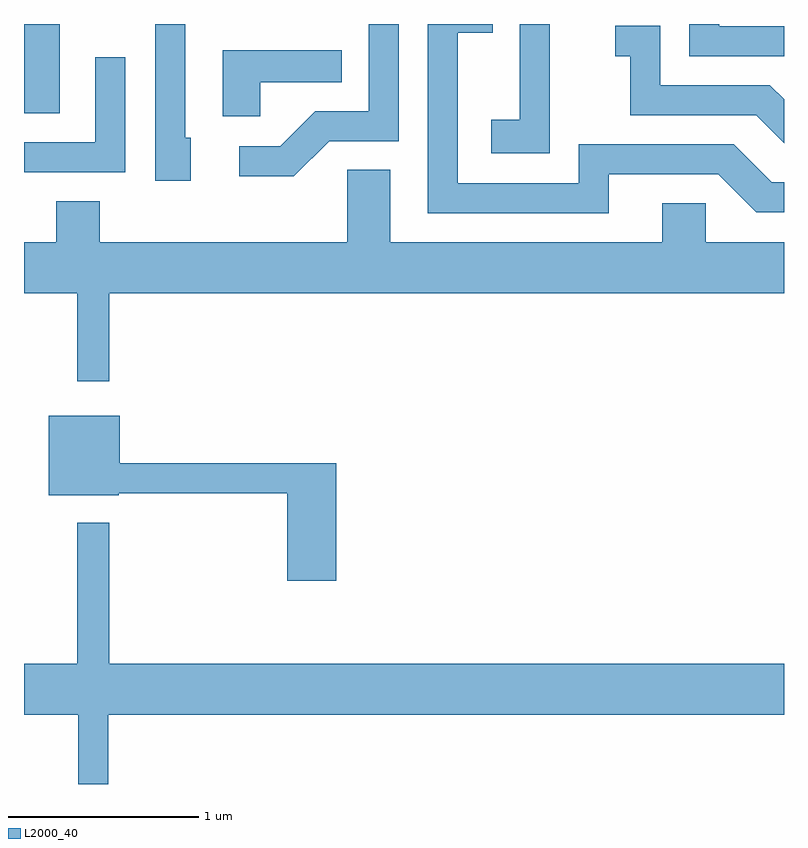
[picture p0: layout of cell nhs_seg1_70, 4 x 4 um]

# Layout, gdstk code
import gdstk
lib = gdstk.Library(unit=1e-6, precision=1e-09)
def R(c, l, rs):  # rectangles x0, y0, x1, y1
    for r in rs: c.add(gdstk.rectangle(r[:2], r[2:], *l))
def P(c, l, *ps):  # polygons
    for p in ps: c.add(gdstk.Polygon(p, *l))
L2000_40 = (2000, 40)

nhs_seg1_70 = lib.new_cell('nhs_seg1_70')
R(nhs_seg1_70, L2000_40, [(187.611,847.241,187.799,847.712)])
P(nhs_seg1_70, L2000_40, [(188.489,847.114),(188.459,847.114),(188.459,847.712),(188.301,847.712),(188.301,846.886),(188.489,846.886)],
  [(191.611,847.699),(191.269,847.699),(191.269,847.712),(191.111,847.712),(191.111,847.541),(191.611,847.541)],
  [(190.689,846.921),(191.264,846.921),(191.464,846.721),(191.611,846.721),(191.611,846.879),(191.547,846.879),(191.347,847.079),(190.531,847.079),(190.531,846.874),(189.894,846.874),(189.894,847.666),(190.078,847.666),(190.078,847.712),(189.736,847.712),(189.736,846.716),(190.689,846.716)],
  [(189.217,847.096),(189.584,847.096),(189.584,847.712),(189.426,847.712),(189.426,847.254),(189.144,847.254),(188.959,847.069),(188.743,847.069),(188.743,846.911),(189.032,846.911)],
  [(190.379,847.712),(190.221,847.712),(190.221,847.209),(190.071,847.209),(190.071,847.031),(190.379,847.031)],
  [(191.611,847.315),(191.537,847.389),(190.959,847.389),(190.959,847.704),(190.723,847.704),(190.723,847.541),(190.801,847.541),(190.801,847.231),(191.464,847.231),(191.611,847.084)],
  [(188.854,847.406),(189.283,847.406),(189.283,847.574),(188.656,847.574),(188.656,847.226),(188.854,847.226)],
  [(188.144,847.538),(187.986,847.538),(187.986,847.089),(187.611,847.089),(187.611,846.931),(188.144,846.931)],
  [(188.059,846.296),(191.611,846.296),(191.611,846.564),(191.199,846.564),(191.199,846.769),(190.971,846.769),(190.971,846.564),(189.539,846.564),(189.539,846.944),(189.311,846.944),(189.311,846.564),(188.009,846.564),(188.009,846.779),(187.781,846.779),(187.781,846.564),(187.611,846.564),(187.611,846.296),(187.891,846.296),(187.891,845.833),(188.059,845.833)],
  [(189.254,845.399),(188.114,845.399),(188.114,845.649),(187.741,845.649),(187.741,845.231),(188.11,845.231),(188.11,845.241),(188.996,845.241),(188.996,844.781),(189.254,844.781)],
  [(188.054,844.076),(191.611,844.076),(191.611,844.344),(188.059,844.344),(188.059,845.088),(187.891,845.088),(187.891,844.344),(187.611,844.344),(187.611,844.076),(187.896,844.076),(187.896,843.712),(188.054,843.712)])

lib.write_gds('nhs_seg1_70.gds')
